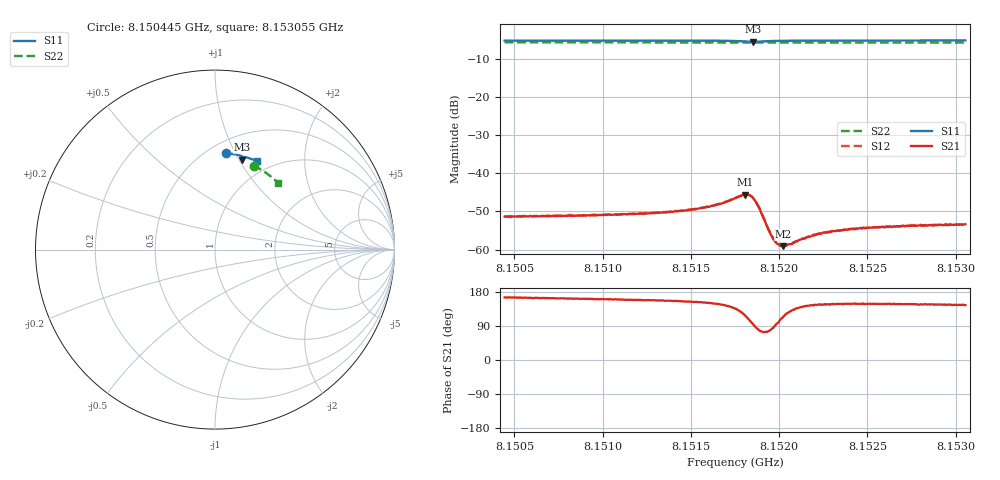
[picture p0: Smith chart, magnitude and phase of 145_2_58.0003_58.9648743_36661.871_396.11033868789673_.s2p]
#  HZ  S  RI  R  50.00
! Rohde & Schwarz Vector Network Analyzer
! Rohde-Schwarz,ZNB20-2Port,1311601062101988,3.16
! Created: UTC 3/21/2024, 12:56:47 AM
! freq[Hz]  re:S11  im:S11  re:S21  im:S21  re:S12  im:S12  re:S22  im:S22
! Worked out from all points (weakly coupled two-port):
!   401 points, 8.150445 GHz to 8.153055 GHz, reference 50 ohm
!   highest |S21| = -45.63 dB at 8.151808 GHz (marker M1); lowest = -59.1 dB at 8.152024 GHz (marker M2)
!   lowest |S11| = -5.6 dB at 8.151854 GHz (marker M3), VSWR 3.20, Z = 37.4 + j51.7 ohm
!   |S11| at or under -10 dB: nowhere
!   |S22| runs from -5.8 to -5.8 dB; largest |S21 - S12| = 0.00012
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8.1504445e9  0.0631 0.5376  -0.00261 0.000688  -0.00262 0.000739  0.2145 0.4683
8.1508817e9  0.0939 0.5339  -0.00264 0.000873  -0.00264 0.00093  0.2396 0.4553
8.1513189e9  0.125 0.5279  -0.00278 0.00118  -0.0028 0.00123  0.264 0.4412
8.1514429e9  0.1341 0.5256  -0.00291 0.00135  -0.00293 0.0014  0.2707 0.4368
8.151593e9  0.1458 0.522  -0.00316 0.00176  -0.00319 0.00182  0.2787 0.4315
8.1516778e9  0.1529 0.5183  -0.00334 0.00229  -0.00337 0.00234  0.2833 0.4282
8.1517496e9  0.1591 0.5124  -0.00336 0.00327  -0.00336 0.00334  0.287 0.4254
8.1518083e9  0.1596 0.5038  -0.00236 0.00467  -0.00235 0.00476  0.2898 0.4231
8.1518344e9  0.156 0.5009  -0.0012 0.00497  -0.00111 0.00502  0.2909 0.4221
8.151854e9  0.1523 0.5009  -0.00024 0.00465  -0.000171 0.0047  0.2918 0.4215
8.1518801e9  0.1492 0.5042  0.000568 0.00368  0.000645 0.00372  0.293 0.4206
8.1519388e9  0.152 0.5125  0.000434 0.00177  0.000472 0.00181  0.2963 0.4187
8.1519649e9  0.1549 0.5143  0.000141 0.00137  0.000152 0.00143  0.2977 0.4179
8.151991e9  0.1577 0.515  -0.000151 0.00117  -0.00015 0.00117  0.299 0.4168
8.1520237e9  0.1612 0.5155  -0.000463 0.00101  -0.000444 0.00101  0.3008 0.4156
8.1520628e9  0.1651 0.5154  -0.000729 0.00092  -0.00073 0.000963  0.3028 0.4142
8.1521868e9  0.1756 0.5136  -0.00124 0.000883  -0.00123 0.000925  0.3092 0.4092
8.1522586e9  0.1811 0.5124  -0.00141 0.000893  -0.00138 0.000936  0.3129 0.4064
8.1524087e9  0.192 0.509  -0.00159 0.00098  -0.00158 0.000996  0.3203 0.4003
8.152624e9  0.2068 0.5037  -0.00169 0.00104  -0.00167 0.00108  0.3307 0.3913
8.1527545e9  0.2154 0.5004  -0.00174 0.0011  -0.00172 0.00116  0.3369 0.3858
8.1530547e9  0.2348 0.4921  -0.00175 0.00124  -0.00173 0.00122  0.3508 0.3726
